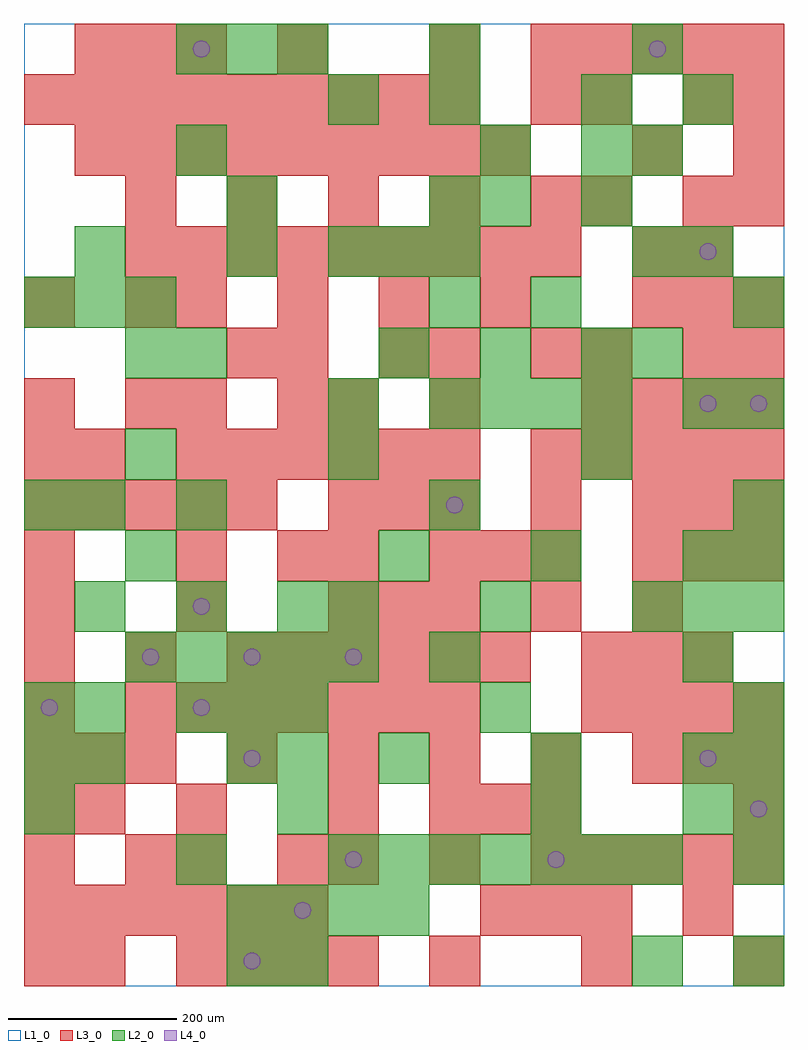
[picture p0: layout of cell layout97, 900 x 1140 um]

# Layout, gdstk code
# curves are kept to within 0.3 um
import gdstk
lib = gdstk.Library(unit=1e-6, precision=1e-09)
def R(c, l, rs):  # rectangles x0, y0, x1, y1
    for r in rs: c.add(gdstk.rectangle(r[:2], r[2:], *l))
def A(c, l, x, y, w, h, nx, ny, dx, dy):  # array of equal rectangles
    R(c, l, [(x+i*dx, y+j*dy, x+i*dx+w, y+j*dy+h) for i in range(nx) for j in range(ny)])
def P(c, l, *ps):  # polygons
    for p in ps: c.add(gdstk.Polygon(p, *l))
L1_0 = (1, 0)
L2_0 = (2, 0)
L3_0 = (3, 0)
L4_0 = (4, 0)

layout97 = lib.new_cell('layout97')
R(layout97, L1_0, [(0,0,900,1140)])
A(layout97, L2_0, 240, 60, 60, 60, 4, 1, 60, 0)
A(layout97, L2_0, 360, 120, 60, 60, 7, 1, 60, 0)
A(layout97, L2_0, 840, 120, 60, 60, 1, 4, 0, 60)
A(layout97, L2_0, 0, 180, 60, 60, 3, 1, 300, 0)
A(layout97, L2_0, 420, 240, 60, 60, 3, 2, 180, 240)
A(layout97, L2_0, 180, 300, 60, 60, 3, 2, 60, 780)
A(layout97, L2_0, 120, 360, 60, 60, 5, 1, 60, 0)
A(layout97, L2_0, 60, 420, 60, 60, 3, 1, 120, 0)
A(layout97, L2_0, 360, 420, 60, 60, 3, 1, 180, 0)
A(layout97, L2_0, 840, 420, 60, 60, 1, 3, 0, 60)
A(layout97, L2_0, 120, 480, 60, 60, 1, 3, 0, 120)
A(layout97, L2_0, 480, 660, 60, 60, 4, 1, 60, 0)
A(layout97, L2_0, 780, 660, 60, 60, 1, 3, 0, 180)
A(layout97, L2_0, 420, 720, 60, 60, 3, 1, 120, 0)
A(layout97, L2_0, 720, 720, 60, 60, 1, 4, 0, 120)
A(layout97, L2_0, 0, 780, 60, 60, 3, 1, 60, 0)
A(layout97, L2_0, 480, 780, 60, 60, 1, 3, 0, 120)
A(layout97, L2_0, 360, 840, 60, 60, 3, 1, 60, 0)
A(layout97, L2_0, 660, 900, 60, 60, 1, 3, 0, 60)
R(layout97, L2_0, [(240,0,300,60), (300,0,360,60), (720,0,780,60), (840,0,900,60), (180,120,240,180), (780,180,840,240), (0,240,60,300), (60,240,120,300), (240,240,300,300), (300,240,360,300), (0,300,60,360), (60,300,120,360), (540,300,600,360), (480,360,540,420), (780,360,840,420), (780,420,840,480), (0,540,60,600), (60,540,120,600), (180,540,240,600), (480,540,540,600), (360,600,420,660), (660,600,720,660), (360,660,420,720), (840,660,900,720), (180,720,240,780), (600,780,660,840), (840,780,900,840), (60,840,120,900), (240,840,300,900), (240,900,300,960), (540,900,600,960), (180,960,240,1020), (540,960,600,1020), (360,1020,420,1080), (480,1080,540,1140)])
A(layout97, L3_0, 180, 0, 60, 60, 4, 1, 60, 0)
A(layout97, L3_0, 480, 0, 60, 60, 3, 1, 180, 0)
A(layout97, L3_0, 0, 60, 60, 60, 6, 1, 60, 0)
A(layout97, L3_0, 540, 60, 60, 60, 3, 1, 60, 0)
A(layout97, L3_0, 360, 120, 60, 60, 3, 1, 120, 0)
A(layout97, L3_0, 660, 120, 60, 60, 4, 2, 60, 180)
A(layout97, L3_0, 480, 180, 60, 60, 3, 2, 60, 300)
A(layout97, L3_0, 0, 240, 60, 60, 3, 1, 60, 0)
A(layout97, L3_0, 240, 240, 60, 60, 5, 1, 120, 0)
A(layout97, L3_0, 120, 300, 60, 60, 7, 1, 60, 0)
A(layout97, L3_0, 0, 360, 60, 60, 3, 1, 120, 0)
A(layout97, L3_0, 300, 360, 60, 60, 5, 1, 60, 0)
A(layout97, L3_0, 660, 360, 60, 60, 3, 1, 60, 0)
A(layout97, L3_0, 0, 420, 60, 60, 3, 1, 180, 0)
A(layout97, L3_0, 480, 420, 60, 60, 3, 1, 120, 0)
A(layout97, L3_0, 720, 480, 60, 60, 3, 2, 60, 60)
A(layout97, L3_0, 0, 540, 60, 60, 5, 1, 60, 0)
A(layout97, L3_0, 360, 540, 60, 60, 3, 1, 60, 0)
A(layout97, L3_0, 180, 600, 60, 60, 6, 1, 60, 0)
A(layout97, L3_0, 600, 600, 60, 60, 5, 2, 60, 480)
A(layout97, L3_0, 660, 660, 60, 60, 4, 1, 60, 0)
A(layout97, L3_0, 180, 780, 60, 60, 4, 1, 120, 0)
A(layout97, L3_0, 720, 780, 60, 60, 3, 1, 60, 0)
A(layout97, L3_0, 120, 840, 60, 60, 9, 1, 60, 0)
A(layout97, L3_0, 120, 900, 60, 60, 5, 1, 120, 0)
A(layout97, L3_0, 840, 900, 60, 60, 1, 3, 0, 60)
A(layout97, L3_0, 60, 960, 60, 60, 9, 1, 60, 0)
A(layout97, L3_0, 0, 1020, 60, 60, 9, 1, 60, 0)
A(layout97, L3_0, 60, 1080, 60, 60, 3, 1, 60, 0)
R(layout97, L3_0, [(0,0,60,60), (60,0,120,60), (780,60,840,120), (0,120,60,180), (120,120,180,180), (180,120,240,180), (300,120,360,180), (0,180,60,240), (60,180,120,240), (180,180,240,240), (360,180,420,240), (840,180,900,240), (780,240,840,300), (840,240,900,300), (0,300,60,360), (420,420,480,480), (0,480,60,540), (180,480,240,540), (300,480,360,540), (360,480,420,540), (600,540,660,600), (0,600,60,660), (60,600,120,660), (0,660,60,720), (120,660,180,720), (180,660,240,720), (300,660,360,720), (360,660,420,720), (480,660,540,720), (240,720,300,780), (300,720,360,780), (420,720,480,780), (480,720,540,780), (600,720,660,780), (660,720,720,780), (780,720,840,780), (840,720,900,780), (0,780,60,840), (120,780,180,840), (720,840,780,900), (780,840,840,900), (660,900,720,960), (780,900,840,960), (720,960,780,1020), (600,1020,660,1080), (660,1020,720,1080), (780,1020,840,1080), (300,1080,360,1140), (480,1080,540,1140)])
P(layout97, L4_0, [(40,330),(39.239,333.827),(37.071,337.071),(33.827,339.239),(30,340),(26.173,339.239),(22.929,337.071),(20.761,333.827),(20,330),(20.761,326.173),(22.929,322.929),(26.173,320.761),(30,320),(33.827,320.761),(37.071,322.929),(39.239,326.173)],
  [(160,390),(159.239,393.827),(157.071,397.071),(153.827,399.239),(150,400),(146.173,399.239),(142.929,397.071),(140.761,393.827),(140,390),(140.761,386.173),(142.929,382.929),(146.173,380.761),(150,380),(153.827,380.761),(157.071,382.929),(159.239,386.173)],
  [(220,330),(219.239,333.827),(217.071,337.071),(213.827,339.239),(210,340),(206.173,339.239),(202.929,337.071),(200.761,333.827),(200,330),(200.761,326.173),(202.929,322.929),(206.173,320.761),(210,320),(213.827,320.761),(217.071,322.929),(219.239,326.173)],
  [(220,450),(219.239,453.827),(217.071,457.071),(213.827,459.239),(210,460),(206.173,459.239),(202.929,457.071),(200.761,453.827),(200,450),(200.761,446.173),(202.929,442.929),(206.173,440.761),(210,440),(213.827,440.761),(217.071,442.929),(219.239,446.173)],
  [(220,1110),(219.239,1113.827),(217.071,1117.071),(213.827,1119.239),(210,1120),(206.173,1119.239),(202.929,1117.071),(200.761,1113.827),(200,1110),(200.761,1106.173),(202.929,1102.929),(206.173,1100.761),(210,1100),(213.827,1100.761),(217.071,1102.929),(219.239,1106.173)],
  [(280,30),(279.239,33.827),(277.071,37.071),(273.827,39.239),(270,40),(266.173,39.239),(262.929,37.071),(260.761,33.827),(260,30),(260.761,26.173),(262.929,22.929),(266.173,20.761),(270,20),(273.827,20.761),(277.071,22.929),(279.239,26.173)],
  [(280,270),(279.239,273.827),(277.071,277.071),(273.827,279.239),(270,280),(266.173,279.239),(262.929,277.071),(260.761,273.827),(260,270),(260.761,266.173),(262.929,262.929),(266.173,260.761),(270,260),(273.827,260.761),(277.071,262.929),(279.239,266.173)],
  [(280,390),(279.239,393.827),(277.071,397.071),(273.827,399.239),(270,400),(266.173,399.239),(262.929,397.071),(260.761,393.827),(260,390),(260.761,386.173),(262.929,382.929),(266.173,380.761),(270,380),(273.827,380.761),(277.071,382.929),(279.239,386.173)],
  [(340,90),(339.239,93.827),(337.071,97.071),(333.827,99.239),(330,100),(326.173,99.239),(322.929,97.071),(320.761,93.827),(320,90),(320.761,86.173),(322.929,82.929),(326.173,80.761),(330,80),(333.827,80.761),(337.071,82.929),(339.239,86.173)],
  [(400,150),(399.239,153.827),(397.071,157.071),(393.827,159.239),(390,160),(386.173,159.239),(382.929,157.071),(380.761,153.827),(380,150),(380.761,146.173),(382.929,142.929),(386.173,140.761),(390,140),(393.827,140.761),(397.071,142.929),(399.239,146.173)],
  [(400,390),(399.239,393.827),(397.071,397.071),(393.827,399.239),(390,400),(386.173,399.239),(382.929,397.071),(380.761,393.827),(380,390),(380.761,386.173),(382.929,382.929),(386.173,380.761),(390,380),(393.827,380.761),(397.071,382.929),(399.239,386.173)],
  [(520,570),(519.239,573.827),(517.071,577.071),(513.827,579.239),(510,580),(506.173,579.239),(502.929,577.071),(500.761,573.827),(500,570),(500.761,566.173),(502.929,562.929),(506.173,560.761),(510,560),(513.827,560.761),(517.071,562.929),(519.239,566.173)],
  [(640,150),(639.239,153.827),(637.071,157.071),(633.827,159.239),(630,160),(626.173,159.239),(622.929,157.071),(620.761,153.827),(620,150),(620.761,146.173),(622.929,142.929),(626.173,140.761),(630,140),(633.827,140.761),(637.071,142.929),(639.239,146.173)],
  [(760,1110),(759.239,1113.827),(757.071,1117.071),(753.827,1119.239),(750,1120),(746.173,1119.239),(742.929,1117.071),(740.761,1113.827),(740,1110),(740.761,1106.173),(742.929,1102.929),(746.173,1100.761),(750,1100),(753.827,1100.761),(757.071,1102.929),(759.239,1106.173)],
  [(820,270),(819.239,273.827),(817.071,277.071),(813.827,279.239),(810,280),(806.173,279.239),(802.929,277.071),(800.761,273.827),(800,270),(800.761,266.173),(802.929,262.929),(806.173,260.761),(810,260),(813.827,260.761),(817.071,262.929),(819.239,266.173)],
  [(820,690),(819.239,693.827),(817.071,697.071),(813.827,699.239),(810,700),(806.173,699.239),(802.929,697.071),(800.761,693.827),(800,690),(800.761,686.173),(802.929,682.929),(806.173,680.761),(810,680),(813.827,680.761),(817.071,682.929),(819.239,686.173)],
  [(820,870),(819.239,873.827),(817.071,877.071),(813.827,879.239),(810,880),(806.173,879.239),(802.929,877.071),(800.761,873.827),(800,870),(800.761,866.173),(802.929,862.929),(806.173,860.761),(810,860),(813.827,860.761),(817.071,862.929),(819.239,866.173)],
  [(880,210),(879.239,213.827),(877.071,217.071),(873.827,219.239),(870,220),(866.173,219.239),(862.929,217.071),(860.761,213.827),(860,210),(860.761,206.173),(862.929,202.929),(866.173,200.761),(870,200),(873.827,200.761),(877.071,202.929),(879.239,206.173)],
  [(880,690),(879.239,693.827),(877.071,697.071),(873.827,699.239),(870,700),(866.173,699.239),(862.929,697.071),(860.761,693.827),(860,690),(860.761,686.173),(862.929,682.929),(866.173,680.761),(870,680),(873.827,680.761),(877.071,682.929),(879.239,686.173)])

lib.write_gds('layout97.gds')
